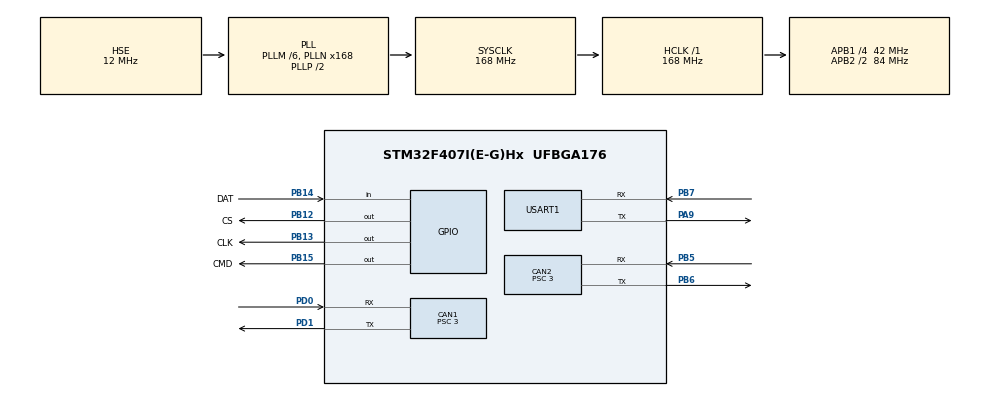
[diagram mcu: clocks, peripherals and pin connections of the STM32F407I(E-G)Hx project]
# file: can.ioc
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CAN1.BS1=CAN_BS1_12TQ
CAN1.BS2=CAN_BS2_2TQ
CAN1.CalculateTimeQuantum=71.42857142857143
CAN1.Prescaler=3
CAN2.BS1=CAN_BS1_12TQ
CAN2.BS2=CAN_BS2_2TQ
CAN2.CalculateTimeQuantum=71.42857142857143
CAN2.Prescaler=3
Dma.Request0=USART1_RX
Dma.Request1=USART1_TX
Dma.USART1_RX.0.Direction=DMA_PERIPH_TO_MEMORY
Dma.USART1_RX.0.FIFOMode=DMA_FIFOMODE_DISABLE
Dma.USART1_RX.0.Instance=DMA2_Stream2
Dma.USART1_RX.0.MemDataAlignment=DMA_MDATAALIGN_BYTE
Dma.USART1_RX.0.MemInc=DMA_MINC_ENABLE
Dma.USART1_RX.0.Mode=DMA_NORMAL
Dma.USART1_RX.0.PeriphDataAlignment=DMA_PDATAALIGN_BYTE
Dma.USART1_RX.0.PeriphInc=DMA_PINC_DISABLE
Dma.USART1_RX.0.Priority=DMA_PRIORITY_LOW
Dma.USART1_TX.1.Direction=DMA_MEMORY_TO_PERIPH
Dma.USART1_TX.1.FIFOMode=DMA_FIFOMODE_DISABLE
Dma.USART1_TX.1.Instance=DMA2_Stream7
Dma.USART1_TX.1.MemDataAlignment=DMA_MDATAALIGN_BYTE
Dma.USART1_TX.1.MemInc=DMA_MINC_ENABLE
Dma.USART1_TX.1.Mode=DMA_NORMAL
Dma.USART1_TX.1.PeriphDataAlignment=DMA_PDATAALIGN_BYTE
Dma.USART1_TX.1.PeriphInc=DMA_PINC_DISABLE
Dma.USART1_TX.1.Priority=DMA_PRIORITY_LOW
Mcu.Family=STM32F4
Mcu.Name=STM32F407I(E-G)Hx
Mcu.Package=UFBGA176
NVIC.CAN1_RX0_IRQn=true\:0\:0\:false\:false\:true\:true\:true
NVIC.CAN2_RX0_IRQn=true\:0\:0\:false\:false\:true\:true\:true
NVIC.DMA2_Stream2_IRQn=true\:0\:0\:false\:false\:true\:false\:true
NVIC.DMA2_Stream7_IRQn=true\:0\:0\:false\:false\:true\:false\:true
NVIC.PriorityGroup=NVIC_PRIORITYGROUP_4
NVIC.TIM2_IRQn=true\:0\:0\:false\:false\:true\:true\:true
NVIC.USART1_IRQn=true\:0\:0\:true\:false\:true\:true\:true
PA13.Mode=Serial_Wire
PA13.Signal=SYS_JTMS-SWDIO
PA14.Mode=Serial_Wire
PA14.Signal=SYS_JTCK-SWCLK
PA9.Mode=Asynchronous
PA9.Signal=USART1_TX
PB12.GPIO_Label=CS
PB12.Signal=GPIO_Output
PB13.GPIO_Label=CLK
PB13.Signal=GPIO_Output
PB14.GPIO_Label=DAT
PB14.GPIO_PuPd=GPIO_PULLDOWN
PB14.Signal=GPIO_Input
PB15.GPIO_Label=CMD
PB15.Signal=GPIO_Output
PB5.Mode=Slave
PB5.Signal=CAN2_RX
PB6.Mode=Slave
PB6.Signal=CAN2_TX
PB7.Mode=Asynchronous
PB7.Signal=USART1_RX
PD0.Mode=Master
PD0.Signal=CAN1_RX
PD1.Mode=Master
PD1.Signal=CAN1_TX
PH0-OSC_IN.Mode=HSE-External-Oscillator
PH0-OSC_IN.Signal=RCC_OSC_IN
PH1-OSC_OUT.Mode=HSE-External-Oscillator
PH1-OSC_OUT.Signal=RCC_OSC_OUT
ProjectManager.HeapSize=0x200
ProjectManager.StackSize=0x400
ProjectManager.TargetToolchain=MDK-ARM V5
RCC.48MHZClocksFreq_Value=84000000
RCC.AHBFreq_Value=168000000
RCC.APB1CLKDivider=RCC_HCLK_DIV4
RCC.APB1Freq_Value=42000000
RCC.APB1TimFreq_Value=84000000
RCC.APB2CLKDivider=RCC_HCLK_DIV2
RCC.APB2Freq_Value=84000000
RCC.APB2TimFreq_Value=168000000
RCC.CortexFreq_Value=168000000
RCC.HCLKFreq_Value=168000000
RCC.HSE_VALUE=12000000
RCC.HSI_VALUE=16000000
RCC.LSE_VALUE=32768
RCC.PLLM=6
RCC.PLLN=168
RCC.PLLSourceVirtual=RCC_PLLSOURCE_HSE
RCC.SYSCLKFreq_VALUE=168000000
RCC.SYSCLKSource=RCC_SYSCLKSOURCE_PLLCLK
RCC.VCOOutputFreq_Value=336000000
TIM2.AutoReloadPreload=TIM_AUTORELOAD_PRELOAD_ENABLE
TIM2.Period=99
TIM2.Prescaler=8399
USART1.VirtualMode=VM_ASYNC
VP_TIM2_VS_ClockSourceINT.Mode=Internal
board=custom

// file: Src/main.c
/* USER CODE BEGIN Header */
/**
******************************************************************************
* @file           : main.c
* @brief          : Main program body
******************************************************************************
* @attention
*
* <h2><center>&copy; Copyright (c) 2019 STMicroelectronics.
* All rights reserved.</center></h2>
*
* This software component is licensed by ST under BSD 3-Clause license,
* the "License"; You may not use this file except in compliance with the
* License. You may obtain a copy of the License at:
*                        opensource.org/licenses/BSD-3-Clause
*
******************************************************************************
*/
/* USER CODE END Header */

#include "main.h"
#include "can.h"
#include "dma.h"
#include "tim.h"
#include "usart.h"
#include "gpio.h"

/* USER CODE BEGIN Includes */
#include "bsp_can.h"
#include "CAN_receive.h"
#include "ps2.h"
#include "pid.h"
#include "usart.h"
#include "mecanum_control.h"
#include <math.h>

/* USER CODE END Includes */

/* USER CODE BEGIN PD */
#define WHEEL_FR 0  // 右前�?
#define WHEEL_FL 1  // 左前�?
#define WHEEL_BL 2  // 左后�?
#define WHEEL_BR 3  // 右后�?
/* USER CODE END PD */

/* USER CODE BEGIN PV */
PID_TypeDef motor_pid[4];
char tx_buffer[1000];
extern TIM_HandleTypeDef htim2;
extern UART_HandleTypeDef huart1;  // 确保你已经在别处定义了这个句�?
extern volatile uint8_t uart_tx_done;
extern void UART1_Send_DMA(uint8_t *buf, uint16_t len);

// 麦克纳姆轮控制结构体
mecanum_control_t mecanum;

/* USER CODE END PV */

void SystemClock_Config(void);
/* USER CODE BEGIN PFP */
void UART1_Send_DMA(uint8_t *buf, uint16_t len);
void UART1_Send_IT(uint8_t *buf, uint16_t len);
/* USER CODE END PFP */

int main(void)
{

  /* MCU Configuration--------------------------------------------------------*/

  /* Reset of all peripherals, Initializes the Flash interface and the Systick. */
  HAL_Init();

  /* USER CODE BEGIN Init */

//float wheel_speed_FR;
//float wheel_speed_FL;
//float wheel_speed_BL;
//float wheel_speed_BR;
  /* USER CODE END Init */

  /* Configure the system clock */
  SystemClock_Config();

  /* Initialize all configured peripherals */
  MX_GPIO_Init();
  MX_DMA_Init();
  MX_CAN1_Init();
  MX_CAN2_Init();
  MX_USART1_UART_Init();
  MX_TIM2_Init();
  /* USER CODE BEGIN 2 */
HAL_TIM_Base_Start_IT(&htim2);
can_filter_init();

  // 修改 PID 初始化代�?
  for (int i = 0; i < 4; i++) {
    pid_init(&motor_pid[i]);
    motor_pid[i].f_param_init(&motor_pid[i], PID_Speed, 4000, 500, 10, 0, 4000, 500, 2.5, 0.1, 0);
    motor_pid[i].target = mecanum.wheel_speed[i];
  }

  // 初始化麦克纳姆轮控制
  mecanum_init(&mecanum);

  /* USER CODE END 2 */

  /* Infinite loop */
  /* USER CODE BEGIN WHILE */
  while (1)
  {
    // 设置所有电机的目标速度为 1000 RPM
    for (int i = 0; i < 4; i++) {
        motor_pid[i].target = 1000; // 固定目标速度
    }

    // 调用 PID 控制函数，计算输出
    for (int i = 0; i < 4; i++) {
        const motor_measure_t *motor_data = get_chassis_motor_measure_point(i);
        motor_pid[i].f_cal_pid(&motor_pid[i], motor_data->speed_rpm);
    }

    // 发送控制命令到电机
    CAN_cmd_chassis(motor_pid[0].output, motor_pid[1].output, motor_pid[2].output, motor_pid[3].output);

    HAL_Delay(10); // 延时 10ms
  }
  /* USER CODE END WHILE */

}

void SystemClock_Config(void)
{
  RCC_OscInitTypeDef RCC_OscInitStruct = {0};
  RCC_ClkInitTypeDef RCC_ClkInitStruct = {0};

  /** Configure the main internal regulator output voltage
  */
  __HAL_RCC_PWR_CLK_ENABLE();
  __HAL_PWR_VOLTAGESCALING_CONFIG(PWR_REGULATOR_VOLTAGE_SCALE1);
  /** Initializes the CPU, AHB and APB busses clocks
  */
  RCC_OscInitStruct.OscillatorType = RCC_OSCILLATORTYPE_HSE;
  RCC_OscInitStruct.HSEState = RCC_HSE_ON;
  RCC_OscInitStruct.PLL.PLLState = RCC_PLL_ON;
  RCC_OscInitStruct.PLL.PLLSource = RCC_PLLSOURCE_HSE;
  RCC_OscInitStruct.PLL.PLLM = 6;
  RCC_OscInitStruct.PLL.PLLN = 168;
  RCC_OscInitStruct.PLL.PLLP = RCC_PLLP_DIV2;
  RCC_OscInitStruct.PLL.PLLQ = 4;
  if (HAL_RCC_OscConfig(&RCC_OscInitStruct) != HAL_OK)
  {
    Error_Handler();
  }
  /** Initializes the CPU, AHB and APB busses clocks
  */
  RCC_ClkInitStruct.ClockType = RCC_CLOCKTYPE_HCLK|RCC_CLOCKTYPE_SYSCLK
                              |RCC_CLOCKTYPE_PCLK1|RCC_CLOCKTYPE_PCLK2;
  RCC_ClkInitStruct.SYSCLKSource = RCC_SYSCLKSOURCE_PLLCLK;
  RCC_ClkInitStruct.AHBCLKDivider = RCC_SYSCLK_DIV1;
  RCC_ClkInitStruct.APB1CLKDivider = RCC_HCLK_DIV4;
  RCC_ClkInitStruct.APB2CLKDivider = RCC_HCLK_DIV2;

  if (HAL_RCC_ClockConfig(&RCC_ClkInitStruct, FLASH_LATENCY_5) != HAL_OK)
  {
    Error_Handler();
  }
}

/* USER CODE BEGIN 4 */
void send_motor_speeds_to_vofa(float motor1, float motor2, float motor3, float motor4) {
    char buffer[100];
    int len = snprintf(buffer, sizeof(buffer), "channels: %.2f,%.2f,%.2f,%.2f\n", motor1, motor2, motor3, motor4);
    HAL_UART_Transmit(&huart1, (uint8_t *)buffer, len, HAL_MAX_DELAY);
}

void HAL_TIM_PeriodElapsedCallback(TIM_HandleTypeDef *htim) {
    if (htim == &htim2) { // 确保是 TIM2 的中断
        float motor1_speed = get_chassis_motor_measure_point(0)->speed_rpm;
        float motor2_speed = get_chassis_motor_measure_point(1)->speed_rpm;
        float motor3_speed = get_chassis_motor_measure_point(2)->speed_rpm;
        float motor4_speed = get_chassis_motor_measure_point(3)->speed_rpm;

        send_motor_speeds_to_vofa(motor1_speed, motor2_speed, motor3_speed, motor4_speed);
    }
}

/* USER CODE END 4 */

void Error_Handler(void)
{
}

/************************ (C) COPYRIGHT STMicroelectronics *****END OF FILE****/
